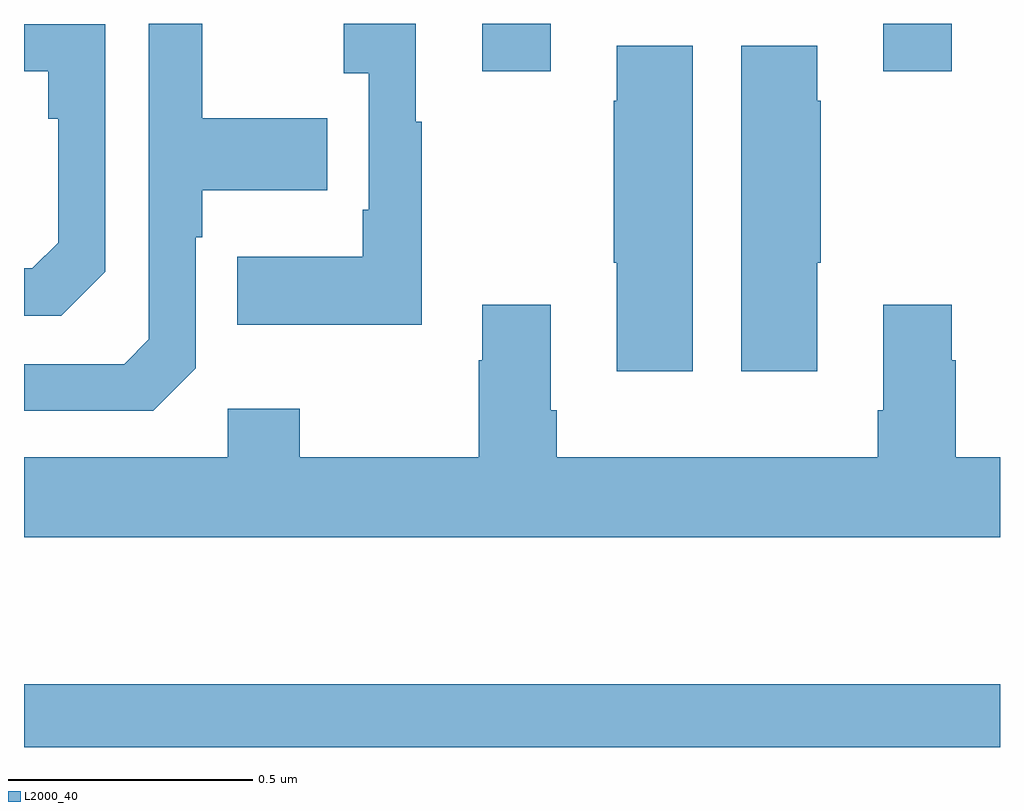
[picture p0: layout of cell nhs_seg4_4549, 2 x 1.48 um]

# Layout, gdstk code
import gdstk
lib = gdstk.Library(unit=1e-6, precision=1e-09)
def R(c, l, rs):  # rectangles x0, y0, x1, y1
    for r in rs: c.add(gdstk.rectangle(r[:2], r[2:], *l))
def P(c, l, *ps):  # polygons
    for p in ps: c.add(gdstk.Polygon(p, *l))
L2000_40 = (2000, 40)

nhs_seg4_4549 = lib.new_cell('nhs_seg4_4549')
R(nhs_seg4_4549, L2000_40, [(167,768.418,169,768.547), (167.939,769.803,168.079,769.9), (168.761,769.803,168.901,769.9)])
P(nhs_seg4_4549, L2000_40, [(167.352,769.194),(167.352,769.463),(167.365,769.463),(167.365,769.559),(167.621,769.559),(167.621,769.707),(167.365,769.707),(167.365,769.9),(167.256,769.9),(167.256,769.254),(167.205,769.203),(167,769.203),(167,769.107),(167.265,769.107)],
  [(167.815,769.699),(167.803,769.699),(167.803,769.9),(167.655,769.9),(167.655,769.799),(167.706,769.799),(167.706,769.519),(167.694,769.519),(167.694,769.423),(167.437,769.423),(167.437,769.283),(167.815,769.283)],
  [(167.166,769.392),(167.166,769.899),(167,769.899),(167,769.803),(167.05,769.803),(167.05,769.706),(167.07,769.706),(167.07,769.452),(167.017,769.399),(167,769.399),(167,769.302),(167.076,769.302)],
  [(168.625,769.411),(168.633,769.411),(168.633,769.742),(168.625,769.742),(168.625,769.855),(168.47,769.855),(168.47,769.188),(168.625,769.188)],
  [(168.37,769.855),(168.215,769.855),(168.215,769.742),(168.208,769.742),(168.208,769.411),(168.215,769.411),(168.215,769.188),(168.37,769.188)],
  [(169,769.012),(168.909,769.012),(168.909,769.211),(168.901,769.211),(168.901,769.324),(168.761,769.324),(168.761,769.108),(168.749,769.108),(168.749,769.012),(168.092,769.012),(168.092,769.108),(168.079,769.108),(168.079,769.324),(167.939,769.324),(167.939,769.211),(167.932,769.211),(167.932,769.012),(167.565,769.012),(167.565,769.111),(167.418,769.111),(167.418,769.012),(167,769.012),(167,768.848),(169,768.848)])

lib.write_gds('nhs_seg4_4549.gds')
